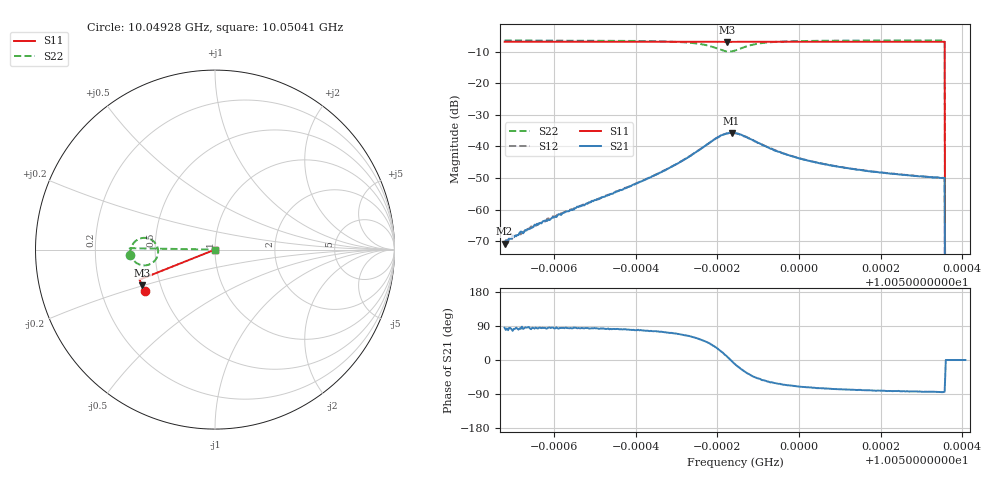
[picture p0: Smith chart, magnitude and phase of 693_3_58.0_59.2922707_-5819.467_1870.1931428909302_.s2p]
#  HZ  S  RI  R  50.00
! Rohde & Schwarz Vector Network Analyzer
! Rohde-Schwarz,ZNB20-2Port,1311601062101988,3.16
! Created: UTC 3/21/2024, 1:21:21 AM
! freq[Hz]  re:S11  im:S11  re:S21  im:S21  re:S12  im:S12  re:S22  im:S22
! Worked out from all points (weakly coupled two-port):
!   401 points, 10.04928 GHz to 10.05041 GHz, reference 50 ohm
!   highest |S21| = -35.70 dB at 10.04983 GHz (marker M1); lowest = -70.8 dB at 10.04928 GHz (marker M2)
!   lowest |S11| = -6.9 dB at 10.04982 GHz (marker M3), VSWR 2.65, Z = 19.8 - j9.87 ohm
!   |S11| at or under -10 dB: 10.05036 GHz to end of sweep
!   |S22| runs from - to -6.5 dB; largest |S21 - S12| = 0.0012
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1.0049279e10  -0.3909 -0.2314  2.52e-05 0.000288  2.41e-05 0.000263  -0.4738 -0.0284
1.0049293e10  -0.3913 -0.2307  3.47e-05 0.000344  -3.04e-05 0.000339  -0.4737 -0.027
1.004931e10  -0.3919 -0.2297  5.03e-05 0.000393  1.03e-05 0.000414  -0.4737 -0.0255
1.0049346e10  -0.3931 -0.2274  4.5e-05 0.000518  3.45e-05 0.000535  -0.4735 -0.0217
1.0049468e10  -0.3968 -0.2203  0.000108 0.00117  9.84e-05 0.00115  -0.4722 -0.00777
1.0049589e10  -0.4004 -0.2131  0.000437 0.00233  0.000306 0.00237  -0.4675 0.0113
1.0049657e10  -0.4025 -0.2089  0.000986 0.00363  0.000776 0.00371  -0.4601 0.0275
1.0049722e10  -0.4042 -0.2048  0.00268 0.00578  0.00235 0.00595  -0.4402 0.0497
1.0049778e10  -0.4053 -0.201  0.00786 0.00786  0.00743 0.00829  -0.3864 0.0653
1.0049804e10  -0.4053 -0.1996  0.0127 0.00646  0.0122 0.00725  -0.3429 0.0465
1.0049823e10  -0.4054 -0.1988  0.0159 0.00261  0.0156 0.00359  -0.3183 0.0046
1.0049835e10  -0.4057 -0.1985  0.0164 -0.000736  0.0162 0.000245  -0.3181 -0.0261
1.0049843e10  -0.4059 -0.1982  0.0159 -0.00311  0.016 -0.00204  -0.3256 -0.0472
1.0049871e10  -0.4071 -0.1972  0.0117 -0.00783  0.0121 -0.00709  -0.3736 -0.0854
1.0049911e10  -0.4086 -0.195  0.00627 -0.00839  0.00691 -0.00805  -0.4254 -0.0811
1.0049962e10  -0.4104 -0.1918  0.00327 -0.00702  0.00372 -0.00681  -0.4533 -0.0601
1.0050032e10  -0.4124 -0.1875  0.00169 -0.00551  0.00201 -0.00541  -0.4664 -0.0385
1.0050128e10  -0.4149 -0.1816  0.000883 -0.00433  0.00115 -0.00427  -0.4723 -0.0197
1.0050221e10  -0.4171 -0.1759  0.000524 -0.00367  0.00077 -0.00369  -0.4742 -0.00684
1.0050351e10  -0.4204 -0.168  0.000279 -0.00314  0.00047 -0.00315  -0.4751 0.00734
1.0050365e10  0 0  0 0  0 0  0 0
1.0050408e10  0 0  0 0  0 0  0 0
